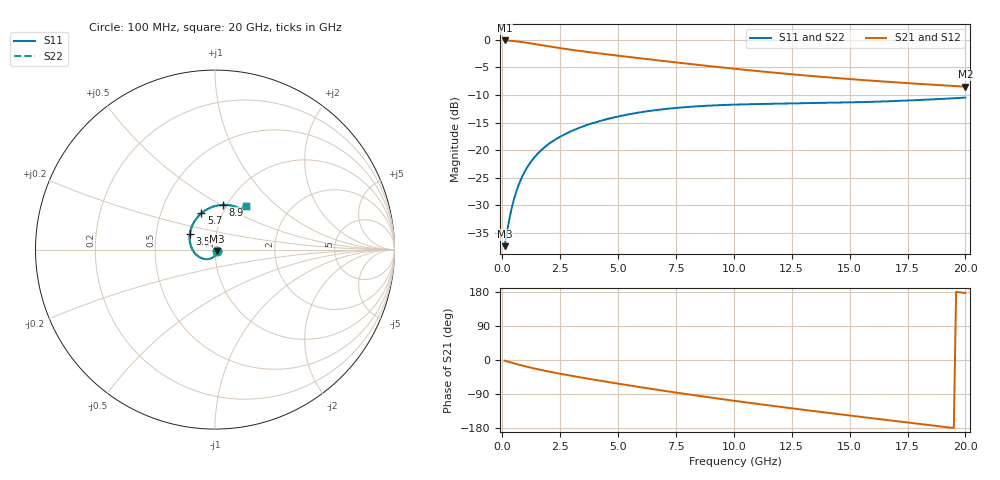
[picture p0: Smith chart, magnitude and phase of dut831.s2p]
! Touchstone file exported from HFSS 2024.1.0
!  File:  C:/UserFiles/LocalFiles/RDL_TSV_Batchsim/temp_RDL_TSV_831_1779918110.aedt
!  Generated:  05:54:36 AM May 28, 2026
!  Design:  RDL_TSV
!  Project:  temp_RDL_TSV_831_1779918110
!  Setup:  Setup1
!  Solution:  Sweep
! Variables:
!  dtsv = 14.84um
!  hbump = 3um
!  htsv = 92.39um
!  ldown = 109.88um
!  lrdl = 443.16um
!  p = 40
!  p1 = 42.82um
!  rhole = 10um
!  subl = 2102.28um
!  t = 450um
!  tdown = 2.11um
!  trdl = 4.32um
!  viad = 10um
!  wdown = 19.57um
!  wrdl = 17.17um
!  xbump = 18um
# GHz S MA R 50.000000
! Terminal data exported
! Port[1] = TM1_1_T1
! Port[2] = TM1_4_T1
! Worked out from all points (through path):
!   200 points, 100 MHz to 20 GHz, reference 50 ohm
!   highest |S21| = -0.11 dB at 100 MHz (marker M1); lowest = -8.5 dB at 20 GHz (marker M2)
!   group delay of S21, straight-line fit = 24 ps
!   lowest |S11| = -37.4 dB at 100 MHz (marker M3), VSWR 1.03, Z = 51.1 - j0.757 ohm
!   |S11| at or under -10 dB: start of sweep to end of sweep
!   |S22| runs from -37.4 to -10.4 dB; largest |S21 - S12| = 1.1e-14
!   S11 on the Smith chart (normalised r, x): 100 MHz: 1.02, -0.02; 3.5 GHz: 0.74, +0.13; 5.7 GHz: 0.80, +0.34; 8.9 GHz: 0.96, +0.51; 20 GHz: 1.22, +0.66
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0.1  0.0135 -33.3  0.9876 -1.8  0.9876 -1.8  0.0135 -33.3
! Gamma 0 0 0 0
! Port Impedance 50 0 50 0
0.3  0.02348 -72.5  0.9828 -5.4  0.9828 -5.4  0.02348 -72.5
0.4  0.02953 -84.2  0.9791 -7.1  0.9791 -7.1  0.02953 -84.2
0.5  0.03573 -93.5  0.9747 -8.8  0.9747 -8.8  0.03573 -93.5
0.6  0.04193 -101.4  0.9698 -10.5  0.9698 -10.5  0.04194 -101.4
0.8  0.05408 -114.8  0.9583 -13.7  0.9583 -13.7  0.05409 -114.8
1.1  0.07119 -131.5  0.9381 -18.3  0.9381 -18.3  0.07121 -131.5
1.5  0.09161 -150.1  0.9091 -24.0  0.9091 -24.0  0.09165 -150.1
2  0.1136 -169.5  0.8734 -30.4  0.8734 -30.4  0.1137 -169.6
2.7  0.1396 168.3  0.8291 -38.5  0.8291 -38.5  0.1397 168.3
3.5  0.1646 148.2  0.7861 -47.2  0.7861 -47.2  0.1648 148.2
4.6  0.1932 126.9  0.7355 -58.4  0.7355 -58.4  0.1935 126.9
5.7  0.2159 110.5  0.6905 -69.3  0.6905 -69.3  0.2164 110.5
6.8  0.2332 97.6  0.6492 -79.6  0.6492 -79.6  0.2337 97.6
8.9  0.2532 79.9  0.5795 -98.3  0.5795 -98.3  0.2539 79.9
10.1  0.2591 72.8  0.5451 -108.3  0.5451 -108.3  0.2599 72.8
11.7  0.2636 66.0  0.5052 -121.2  0.5052 -121.2  0.2644 66.0
13.4  0.2668 61.3  0.4696 -134.4  0.4696 -134.4  0.2676 61.3
15  0.2709 58.6  0.4413 -146.5  0.4413 -146.5  0.2717 58.6
16.7  0.2777 56.9  0.4159 -159.1  0.4159 -159.1  0.2785 56.9
18.3  0.287 55.8  0.3955 -170.8  0.3955 -170.8  0.2878 55.8
20  0.2995 54.8  0.3766 176.8  0.3766 176.8  0.3003 54.8
